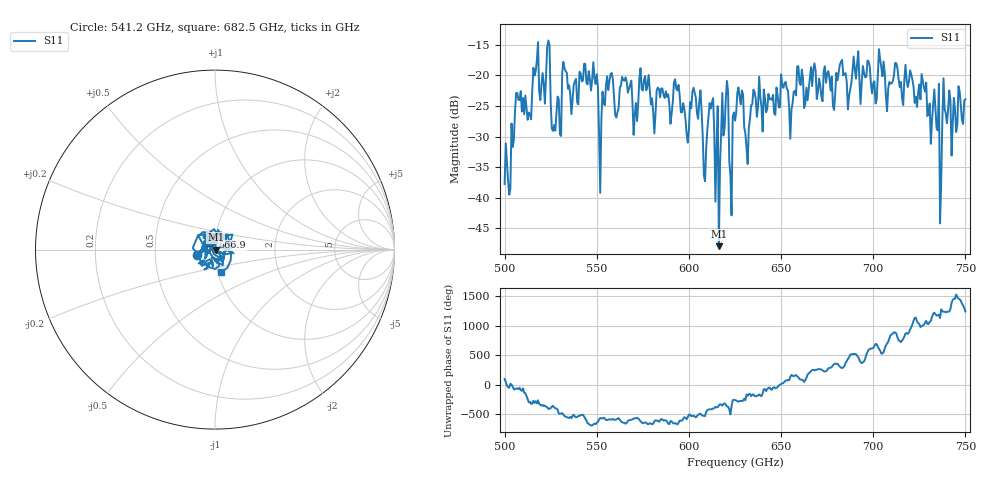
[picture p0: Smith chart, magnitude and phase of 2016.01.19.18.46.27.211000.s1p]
!Created with skrf (http://scikit-rf.org).
# GHz S RI R 50.0
!freq ReS11 ImS11
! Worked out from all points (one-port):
!   401 points, 500 GHz to 750 GHz, reference 50 ohm
!   lowest |S11| = -47.9 dB at 616.2 GHz (marker M1), VSWR 1.01, Z = 50.4 + j0.0237 ohm
!   |S11| at or under -10 dB: start of sweep to end of sweep
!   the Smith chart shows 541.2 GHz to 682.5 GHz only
!   S11 on the Smith chart (normalised r, x): 541.2 GHz: 0.82, -0.05; 566.9 GHz: 0.97, +0.14; 682.5 GHz: 1.04, -0.26
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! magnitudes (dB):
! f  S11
! 500 GHz  -37.8
! 516.9 GHz  -19.3
! 523.8 GHz  -14.3
! 526.9 GHz  -28.1
! 531.2 GHz  -19.6
! 541.2 GHz  -19.7
! 549.4 GHz  -21.4
! 552.5 GHz  -27.2
! 556.9 GHz  -20.9
! 562.5 GHz  -22.0
! 566.9 GHz  -22.8
! 593.8 GHz  -22.5
! 598.8 GHz  -29.6
! 605.6 GHz  -24.3
! 608.8 GHz  -37.3
! 611.9 GHz  -25.4
! 616.2 GHz  -47.9
! 619.4 GHz  -28.5
! 623.1 GHz  -42.9
! 625 GHz  -27.4
! 656.2 GHz  -24.5
! 682.5 GHz  -17.8
! 687.5 GHz  -22.4
! 718.8 GHz  -21.9
! 734.4 GHz  -28.6
! 735.6 GHz  -21.4
! 739.4 GHz  -26.3
! 750 GHz  -23.9
